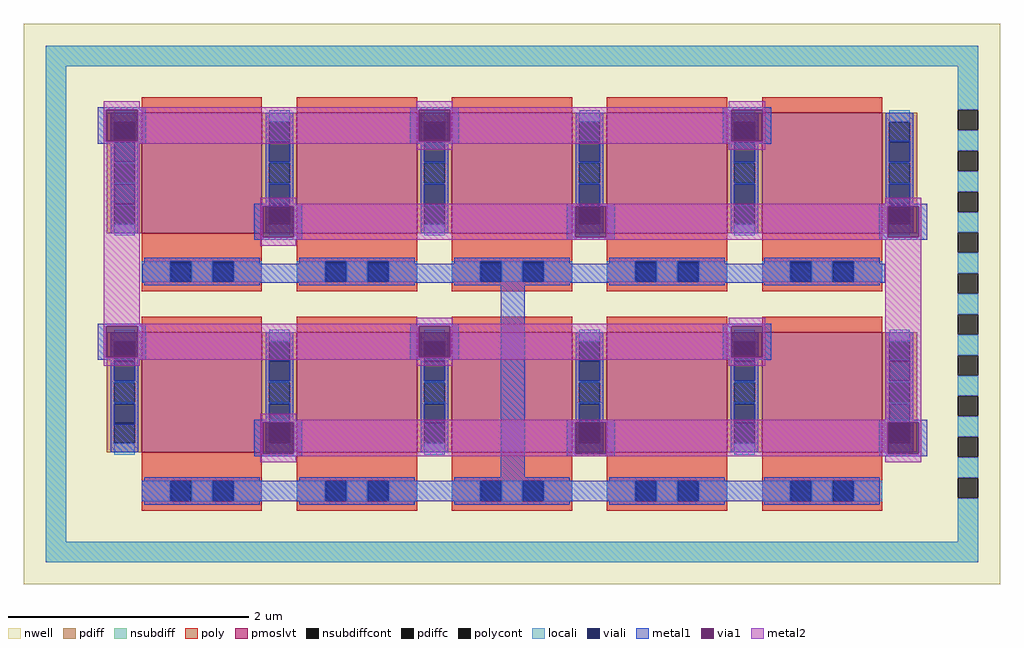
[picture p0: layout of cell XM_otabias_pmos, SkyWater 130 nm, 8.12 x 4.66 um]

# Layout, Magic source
magic
tech sky130A
magscale 1 2
<< metal1 >>
rect 70 736 150 740
rect 70 684 84 736
rect 136 684 150 736
rect 70 680 150 684
rect 590 736 670 740
rect 590 684 604 736
rect 656 684 670 736
rect 590 680 670 684
rect 1110 736 1190 740
rect 1110 684 1124 736
rect 1176 684 1190 736
rect 1110 680 1190 684
rect 330 576 410 580
rect 330 524 344 576
rect 396 524 410 576
rect 330 520 410 524
rect 850 576 930 580
rect 850 524 864 576
rect 916 524 930 576
rect 850 520 930 524
rect 1370 576 1450 580
rect 1370 524 1384 576
rect 1436 524 1450 576
rect 1370 520 1450 524
rect 144 448 1380 480
rect 70 376 150 380
rect 70 324 84 376
rect 136 324 150 376
rect 70 320 150 324
rect 590 376 670 380
rect 590 324 604 376
rect 656 324 670 376
rect 590 320 670 324
rect 330 216 410 220
rect 330 164 344 216
rect 396 164 410 216
rect 330 160 410 164
rect 740 119 780 448
rect 1110 376 1190 380
rect 1110 324 1124 376
rect 1176 324 1190 376
rect 1110 320 1190 324
rect 850 216 930 220
rect 850 164 864 216
rect 916 164 930 216
rect 850 160 930 164
rect 1370 216 1450 220
rect 1370 164 1384 216
rect 1436 164 1450 216
rect 1370 160 1450 164
rect 143 85 1367 119
rect 740 80 780 85
<< via1 >>
rect 84 684 136 736
rect 604 684 656 736
rect 1124 684 1176 736
rect 344 524 396 576
rect 864 524 916 576
rect 1384 524 1436 576
rect 84 324 136 376
rect 604 324 656 376
rect 344 164 396 216
rect 1124 324 1176 376
rect 864 164 916 216
rect 1384 164 1436 216
<< metal2 >>
rect 80 740 140 750
rect 600 740 660 750
rect 1120 740 1180 750
rect 80 736 1180 740
rect 80 684 84 736
rect 136 684 604 736
rect 656 684 1124 736
rect 1176 684 1180 736
rect 80 680 1180 684
rect 80 380 140 680
rect 600 670 660 680
rect 1120 670 1180 680
rect 340 580 400 590
rect 1380 580 1440 590
rect 340 576 1440 580
rect 340 524 344 576
rect 396 524 864 576
rect 916 524 1384 576
rect 1436 524 1440 576
rect 340 520 1440 524
rect 340 510 400 520
rect 600 380 660 390
rect 1120 380 1180 390
rect 80 376 1180 380
rect 80 324 84 376
rect 136 324 604 376
rect 656 324 1124 376
rect 1176 324 1180 376
rect 80 320 1180 324
rect 80 310 140 320
rect 600 310 660 320
rect 1120 310 1180 320
rect 340 220 400 230
rect 1380 220 1440 520
rect 340 216 1440 220
rect 340 164 344 216
rect 396 164 864 216
rect 916 164 1384 216
rect 1436 164 1440 216
rect 340 160 1440 164
rect 340 150 400 160
rect 1380 150 1440 160
use sky130_fd_pr__pfet_01v8_lvt_MUAP4U  sky130_fd_pr__pfet_01v8_lvt_MUAP4U_0
transform 1 0 759 0 1 413
box -812 -466 812 466
<< end >>

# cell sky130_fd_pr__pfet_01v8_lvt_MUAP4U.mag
magic
tech sky130A
magscale 1 2
<< nwell >>
rect -812 -466 812 466
<< pmoslvt >>
rect -616 118 -416 318
rect -358 118 -158 318
rect -100 118 100 318
rect 158 118 358 318
rect 416 118 616 318
rect -616 -247 -416 -47
rect -358 -247 -158 -47
rect -100 -247 100 -47
rect 158 -247 358 -47
rect 416 -247 616 -47
<< pdiff >>
rect -674 303 -616 318
rect -674 269 -662 303
rect -628 269 -616 303
rect -674 235 -616 269
rect -674 201 -662 235
rect -628 201 -616 235
rect -674 167 -616 201
rect -674 133 -662 167
rect -628 133 -616 167
rect -674 118 -616 133
rect -416 303 -358 318
rect -416 269 -404 303
rect -370 269 -358 303
rect -416 235 -358 269
rect -416 201 -404 235
rect -370 201 -358 235
rect -416 167 -358 201
rect -416 133 -404 167
rect -370 133 -358 167
rect -416 118 -358 133
rect -158 303 -100 318
rect -158 269 -146 303
rect -112 269 -100 303
rect -158 235 -100 269
rect -158 201 -146 235
rect -112 201 -100 235
rect -158 167 -100 201
rect -158 133 -146 167
rect -112 133 -100 167
rect -158 118 -100 133
rect 100 303 158 318
rect 100 269 112 303
rect 146 269 158 303
rect 100 235 158 269
rect 100 201 112 235
rect 146 201 158 235
rect 100 167 158 201
rect 100 133 112 167
rect 146 133 158 167
rect 100 118 158 133
rect 358 303 416 318
rect 358 269 370 303
rect 404 269 416 303
rect 358 235 416 269
rect 358 201 370 235
rect 404 201 416 235
rect 358 167 416 201
rect 358 133 370 167
rect 404 133 416 167
rect 358 118 416 133
rect 616 303 674 318
rect 616 269 628 303
rect 662 269 674 303
rect 616 235 674 269
rect 616 201 628 235
rect 662 201 674 235
rect 616 167 674 201
rect 616 133 628 167
rect 662 133 674 167
rect 616 118 674 133
rect -674 -62 -616 -47
rect -674 -96 -662 -62
rect -628 -96 -616 -62
rect -674 -130 -616 -96
rect -674 -164 -662 -130
rect -628 -164 -616 -130
rect -674 -198 -616 -164
rect -674 -232 -662 -198
rect -628 -232 -616 -198
rect -674 -247 -616 -232
rect -416 -62 -358 -47
rect -416 -96 -404 -62
rect -370 -96 -358 -62
rect -416 -130 -358 -96
rect -416 -164 -404 -130
rect -370 -164 -358 -130
rect -416 -198 -358 -164
rect -416 -232 -404 -198
rect -370 -232 -358 -198
rect -416 -247 -358 -232
rect -158 -62 -100 -47
rect -158 -96 -146 -62
rect -112 -96 -100 -62
rect -158 -130 -100 -96
rect -158 -164 -146 -130
rect -112 -164 -100 -130
rect -158 -198 -100 -164
rect -158 -232 -146 -198
rect -112 -232 -100 -198
rect -158 -247 -100 -232
rect 100 -62 158 -47
rect 100 -96 112 -62
rect 146 -96 158 -62
rect 100 -130 158 -96
rect 100 -164 112 -130
rect 146 -164 158 -130
rect 100 -198 158 -164
rect 100 -232 112 -198
rect 146 -232 158 -198
rect 100 -247 158 -232
rect 358 -62 416 -47
rect 358 -96 370 -62
rect 404 -96 416 -62
rect 358 -130 416 -96
rect 358 -164 370 -130
rect 404 -164 416 -130
rect 358 -198 416 -164
rect 358 -232 370 -198
rect 404 -232 416 -198
rect 358 -247 416 -232
rect 616 -62 674 -47
rect 616 -96 628 -62
rect 662 -96 674 -62
rect 616 -130 674 -96
rect 616 -164 628 -130
rect 662 -164 674 -130
rect 616 -198 674 -164
rect 616 -232 628 -198
rect 662 -232 674 -198
rect 616 -247 674 -232
<< pdiffc >>
rect -662 269 -628 303
rect -662 201 -628 235
rect -662 133 -628 167
rect -404 269 -370 303
rect -404 201 -370 235
rect -404 133 -370 167
rect -146 269 -112 303
rect -146 201 -112 235
rect -146 133 -112 167
rect 112 269 146 303
rect 112 201 146 235
rect 112 133 146 167
rect 370 269 404 303
rect 370 201 404 235
rect 370 133 404 167
rect 628 269 662 303
rect 628 201 662 235
rect 628 133 662 167
rect -662 -96 -628 -62
rect -662 -164 -628 -130
rect -662 -232 -628 -198
rect -404 -96 -370 -62
rect -404 -164 -370 -130
rect -404 -232 -370 -198
rect -146 -96 -112 -62
rect -146 -164 -112 -130
rect -146 -232 -112 -198
rect 112 -96 146 -62
rect 112 -164 146 -130
rect 112 -232 146 -198
rect 370 -96 404 -62
rect 370 -164 404 -130
rect 370 -232 404 -198
rect 628 -96 662 -62
rect 628 -164 662 -130
rect 628 -232 662 -198
<< nsubdiff >>
rect -776 396 776 430
rect -776 -396 -742 396
rect 742 323 776 396
rect 742 255 776 289
rect 742 187 776 221
rect 742 119 776 153
rect 742 51 776 85
rect 742 -17 776 17
rect 742 -85 776 -51
rect 742 -153 776 -119
rect 742 -221 776 -187
rect 742 -289 776 -255
rect 742 -396 776 -323
rect -776 -430 776 -396
<< nsubdiffcont >>
rect 742 289 776 323
rect 742 221 776 255
rect 742 153 776 187
rect 742 85 776 119
rect 742 17 776 51
rect 742 -51 776 -17
rect 742 -119 776 -85
rect 742 -187 776 -153
rect 742 -255 776 -221
rect 742 -323 776 -289
<< poly >>
rect -616 318 -416 344
rect -358 318 -158 344
rect -100 318 100 344
rect 158 318 358 344
rect 416 318 616 344
rect -616 71 -416 118
rect -616 37 -567 71
rect -533 37 -499 71
rect -465 37 -416 71
rect -616 21 -416 37
rect -358 71 -158 118
rect -358 37 -309 71
rect -275 37 -241 71
rect -207 37 -158 71
rect -358 21 -158 37
rect -100 71 100 118
rect -100 37 -51 71
rect -17 37 17 71
rect 51 37 100 71
rect -100 21 100 37
rect 158 71 358 118
rect 158 37 207 71
rect 241 37 275 71
rect 309 37 358 71
rect 158 21 358 37
rect 416 71 616 118
rect 416 37 465 71
rect 499 37 533 71
rect 567 37 616 71
rect 416 21 616 37
rect -616 -47 -416 -21
rect -358 -47 -158 -21
rect -100 -47 100 -21
rect 158 -47 358 -21
rect 416 -47 616 -21
rect -616 -294 -416 -247
rect -616 -328 -567 -294
rect -533 -328 -499 -294
rect -465 -328 -416 -294
rect -616 -344 -416 -328
rect -358 -294 -158 -247
rect -358 -328 -309 -294
rect -275 -328 -241 -294
rect -207 -328 -158 -294
rect -358 -344 -158 -328
rect -100 -294 100 -247
rect -100 -328 -51 -294
rect -17 -328 17 -294
rect 51 -328 100 -294
rect -100 -344 100 -328
rect 158 -294 358 -247
rect 158 -328 207 -294
rect 241 -328 275 -294
rect 309 -328 358 -294
rect 158 -344 358 -328
rect 416 -294 616 -247
rect 416 -328 465 -294
rect 499 -328 533 -294
rect 567 -328 616 -294
rect 416 -344 616 -328
<< polycont >>
rect -567 37 -533 71
rect -499 37 -465 71
rect -309 37 -275 71
rect -241 37 -207 71
rect -51 37 -17 71
rect 17 37 51 71
rect 207 37 241 71
rect 275 37 309 71
rect 465 37 499 71
rect 533 37 567 71
rect -567 -328 -533 -294
rect -499 -328 -465 -294
rect -309 -328 -275 -294
rect -241 -328 -207 -294
rect -51 -328 -17 -294
rect 17 -328 51 -294
rect 207 -328 241 -294
rect 275 -328 309 -294
rect 465 -328 499 -294
rect 533 -328 567 -294
<< locali >>
rect -776 396 776 430
rect -776 -396 -742 396
rect 742 323 776 396
rect -662 303 -628 322
rect -662 235 -628 237
rect -662 199 -628 201
rect -662 114 -628 133
rect -404 303 -370 322
rect -404 235 -370 237
rect -404 199 -370 201
rect -404 114 -370 133
rect -146 303 -112 322
rect -146 235 -112 237
rect -146 199 -112 201
rect -146 114 -112 133
rect 112 303 146 322
rect 112 235 146 237
rect 112 199 146 201
rect 112 114 146 133
rect 370 303 404 322
rect 370 235 404 237
rect 370 199 404 201
rect 370 114 404 133
rect 628 303 662 322
rect 628 235 662 237
rect 628 199 662 201
rect 628 114 662 133
rect 742 255 776 289
rect 742 187 776 221
rect 742 119 776 153
rect -616 37 -569 71
rect -533 37 -499 71
rect -463 37 -416 71
rect -358 37 -311 71
rect -275 37 -241 71
rect -205 37 -158 71
rect -100 37 -53 71
rect -17 37 17 71
rect 53 37 100 71
rect 158 37 205 71
rect 241 37 275 71
rect 311 37 358 71
rect 416 37 463 71
rect 499 37 533 71
rect 569 37 616 71
rect 742 51 776 85
rect 742 -17 776 17
rect -662 -62 -628 -43
rect -662 -130 -628 -128
rect -662 -166 -628 -164
rect -662 -251 -628 -232
rect -404 -62 -370 -43
rect -404 -130 -370 -128
rect -404 -166 -370 -164
rect -404 -251 -370 -232
rect -146 -62 -112 -43
rect -146 -130 -112 -128
rect -146 -166 -112 -164
rect -146 -251 -112 -232
rect 112 -62 146 -43
rect 112 -130 146 -128
rect 112 -166 146 -164
rect 112 -251 146 -232
rect 370 -62 404 -43
rect 370 -130 404 -128
rect 370 -166 404 -164
rect 370 -251 404 -232
rect 628 -62 662 -43
rect 628 -130 662 -128
rect 628 -166 662 -164
rect 628 -251 662 -232
rect 742 -85 776 -51
rect 742 -153 776 -119
rect 742 -221 776 -187
rect 742 -289 776 -255
rect -616 -328 -569 -294
rect -533 -328 -499 -294
rect -463 -328 -416 -294
rect -358 -328 -311 -294
rect -275 -328 -241 -294
rect -205 -328 -158 -294
rect -100 -328 -53 -294
rect -17 -328 17 -294
rect 53 -328 100 -294
rect 158 -328 205 -294
rect 241 -328 275 -294
rect 311 -328 358 -294
rect 416 -328 463 -294
rect 499 -328 533 -294
rect 569 -328 616 -294
rect 742 -396 776 -323
rect -776 -430 776 -396
<< viali >>
rect -662 269 -628 271
rect -662 237 -628 269
rect -662 167 -628 199
rect -662 165 -628 167
rect -404 269 -370 271
rect -404 237 -370 269
rect -404 167 -370 199
rect -404 165 -370 167
rect -146 269 -112 271
rect -146 237 -112 269
rect -146 167 -112 199
rect -146 165 -112 167
rect 112 269 146 271
rect 112 237 146 269
rect 112 167 146 199
rect 112 165 146 167
rect 370 269 404 271
rect 370 237 404 269
rect 370 167 404 199
rect 370 165 404 167
rect 628 269 662 271
rect 628 237 662 269
rect 628 167 662 199
rect 628 165 662 167
rect -569 37 -567 71
rect -567 37 -535 71
rect -497 37 -465 71
rect -465 37 -463 71
rect -311 37 -309 71
rect -309 37 -277 71
rect -239 37 -207 71
rect -207 37 -205 71
rect -53 37 -51 71
rect -51 37 -19 71
rect 19 37 51 71
rect 51 37 53 71
rect 205 37 207 71
rect 207 37 239 71
rect 277 37 309 71
rect 309 37 311 71
rect 463 37 465 71
rect 465 37 497 71
rect 535 37 567 71
rect 567 37 569 71
rect -662 -96 -628 -94
rect -662 -128 -628 -96
rect -662 -198 -628 -166
rect -662 -200 -628 -198
rect -404 -96 -370 -94
rect -404 -128 -370 -96
rect -404 -198 -370 -166
rect -404 -200 -370 -198
rect -146 -96 -112 -94
rect -146 -128 -112 -96
rect -146 -198 -112 -166
rect -146 -200 -112 -198
rect 112 -96 146 -94
rect 112 -128 146 -96
rect 112 -198 146 -166
rect 112 -200 146 -198
rect 370 -96 404 -94
rect 370 -128 404 -96
rect 370 -198 404 -166
rect 370 -200 404 -198
rect 628 -96 662 -94
rect 628 -128 662 -96
rect 628 -198 662 -166
rect 628 -200 662 -198
rect -569 -328 -567 -294
rect -567 -328 -535 -294
rect -497 -328 -465 -294
rect -465 -328 -463 -294
rect -311 -328 -309 -294
rect -309 -328 -277 -294
rect -239 -328 -207 -294
rect -207 -328 -205 -294
rect -53 -328 -51 -294
rect -51 -328 -19 -294
rect 19 -328 51 -294
rect 51 -328 53 -294
rect 205 -328 207 -294
rect 207 -328 239 -294
rect 277 -328 309 -294
rect 309 -328 311 -294
rect 463 -328 465 -294
rect 465 -328 497 -294
rect 535 -328 567 -294
rect 567 -328 569 -294
<< metal1 >>
rect -668 271 -622 318
rect -668 237 -662 271
rect -628 237 -622 271
rect -668 199 -622 237
rect -668 165 -662 199
rect -628 165 -622 199
rect -668 118 -622 165
rect -410 271 -364 318
rect -410 237 -404 271
rect -370 237 -364 271
rect -410 199 -364 237
rect -410 165 -404 199
rect -370 165 -364 199
rect -410 118 -364 165
rect -152 271 -106 318
rect -152 237 -146 271
rect -112 237 -106 271
rect -152 199 -106 237
rect -152 165 -146 199
rect -112 165 -106 199
rect -152 118 -106 165
rect 106 271 152 318
rect 106 237 112 271
rect 146 237 152 271
rect 106 199 152 237
rect 106 165 112 199
rect 146 165 152 199
rect 106 118 152 165
rect 364 271 410 318
rect 364 237 370 271
rect 404 237 410 271
rect 364 199 410 237
rect 364 165 370 199
rect 404 165 410 199
rect 364 118 410 165
rect 622 271 668 318
rect 622 237 628 271
rect 662 237 668 271
rect 622 199 668 237
rect 622 165 628 199
rect 662 165 668 199
rect 622 118 668 165
rect -612 71 -420 77
rect -612 37 -569 71
rect -535 37 -497 71
rect -463 37 -420 71
rect -612 31 -420 37
rect -354 71 -162 77
rect -354 37 -311 71
rect -277 37 -239 71
rect -205 37 -162 71
rect -354 31 -162 37
rect -96 71 96 77
rect -96 37 -53 71
rect -19 37 19 71
rect 53 37 96 71
rect -96 31 96 37
rect 162 71 354 77
rect 162 37 205 71
rect 239 37 277 71
rect 311 37 354 71
rect 162 31 354 37
rect 420 71 612 77
rect 420 37 463 71
rect 497 37 535 71
rect 569 37 612 71
rect 420 31 612 37
rect -668 -94 -622 -47
rect -668 -128 -662 -94
rect -628 -128 -622 -94
rect -668 -166 -622 -128
rect -668 -200 -662 -166
rect -628 -200 -622 -166
rect -668 -247 -622 -200
rect -410 -94 -364 -47
rect -410 -128 -404 -94
rect -370 -128 -364 -94
rect -410 -166 -364 -128
rect -410 -200 -404 -166
rect -370 -200 -364 -166
rect -410 -247 -364 -200
rect -152 -94 -106 -47
rect -152 -128 -146 -94
rect -112 -128 -106 -94
rect -152 -166 -106 -128
rect -152 -200 -146 -166
rect -112 -200 -106 -166
rect -152 -247 -106 -200
rect 106 -94 152 -47
rect 106 -128 112 -94
rect 146 -128 152 -94
rect 106 -166 152 -128
rect 106 -200 112 -166
rect 146 -200 152 -166
rect 106 -247 152 -200
rect 364 -94 410 -47
rect 364 -128 370 -94
rect 404 -128 410 -94
rect 364 -166 410 -128
rect 364 -200 370 -166
rect 404 -200 410 -166
rect 364 -247 410 -200
rect 622 -94 668 -47
rect 622 -128 628 -94
rect 662 -128 668 -94
rect 622 -166 668 -128
rect 622 -200 628 -166
rect 662 -200 668 -166
rect 622 -247 668 -200
rect -612 -294 -420 -288
rect -612 -328 -569 -294
rect -535 -328 -497 -294
rect -463 -328 -420 -294
rect -612 -334 -420 -328
rect -354 -294 -162 -288
rect -354 -328 -311 -294
rect -277 -328 -239 -294
rect -205 -328 -162 -294
rect -354 -334 -162 -328
rect -96 -294 96 -288
rect -96 -328 -53 -294
rect -19 -328 19 -294
rect 53 -328 96 -294
rect -96 -334 96 -328
rect 162 -294 354 -288
rect 162 -328 205 -294
rect 239 -328 277 -294
rect 311 -328 354 -294
rect 162 -334 354 -328
rect 420 -294 612 -288
rect 420 -328 463 -294
rect 497 -328 535 -294
rect 569 -328 612 -294
rect 420 -334 612 -328
<< properties >>
string FIXED_BBOX -759 -413 759 413
<< end >>
